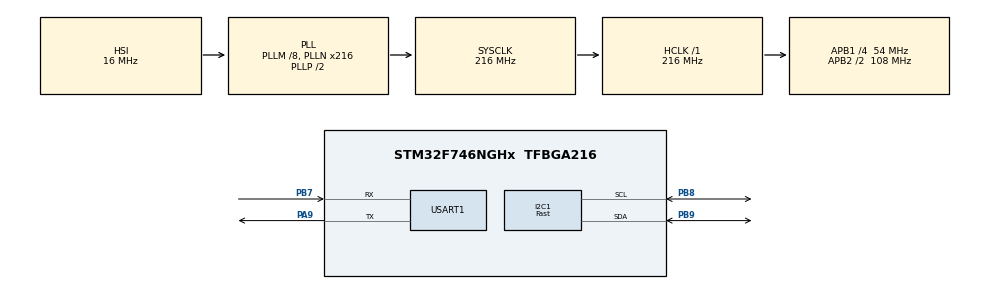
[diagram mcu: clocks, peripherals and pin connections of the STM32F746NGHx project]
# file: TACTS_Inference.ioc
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CORTEX_M7.CPU_DCache=Enabled
CORTEX_M7.CPU_ICache=Enabled
I2C1.I2C_Speed_Mode=I2C_Fast
I2C1.Timing=0x6000030D
Mcu.Family=STM32F7
Mcu.Name=STM32F746NGHx
Mcu.Package=TFBGA216
NVIC.I2C1_ER_IRQn=true\:0\:0\:false\:false\:true\:true\:true\:true
NVIC.I2C1_EV_IRQn=true\:0\:0\:false\:false\:true\:true\:true\:true
NVIC.PriorityGroup=NVIC_PRIORITYGROUP_4
NVIC.USART1_IRQn=true\:0\:0\:false\:true\:true\:1\:true\:true\:true
PA9.Mode=Asynchronous
PA9.Signal=USART1_TX
PB7.Mode=Asynchronous
PB7.Signal=USART1_RX
PB8.Mode=I2C
PB8.Signal=I2C1_SCL
PB9.Mode=I2C
PB9.Signal=I2C1_SDA
PH0/OSC_IN.Mode=HSE-External-Clock-Source
PH0/OSC_IN.Signal=RCC_OSC_IN
PH1/OSC_OUT.Mode=HSE-External-Clock-Source
PH1/OSC_OUT.Signal=RCC_OSC_OUT
ProjectManager.HeapSize=0x800
ProjectManager.StackSize=0x800
ProjectManager.TargetToolchain=STM32CubeIDE
RCC.AHBFreq_Value=216000000
RCC.APB1CLKDivider=RCC_HCLK_DIV4
RCC.APB1Freq_Value=54000000
RCC.APB1TimFreq_Value=108000000
RCC.APB2CLKDivider=RCC_HCLK_DIV2
RCC.APB2Freq_Value=108000000
RCC.APB2TimFreq_Value=216000000
RCC.CortexFreq_Value=216000000
RCC.HCLKFreq_Value=216000000
RCC.HSE_VALUE=8000000
RCC.HSI_VALUE=16000000
RCC.LSE_VALUE=32768
RCC.PLLM=8
RCC.PLLN=216
RCC.SYSCLKFreq_VALUE=216000000
RCC.SYSCLKSource=RCC_SYSCLKSOURCE_PLLCLK
RCC.USBFreq_Value=216000000
RCC.VCOOutputFreq_Value=432000000
STMicroelectronics.X-CUBE-AI.8.1.0.ActivationBufferSizeList=5364
STMicroelectronics.X-CUBE-AI.8.1.0.ActivationBuffers=pool0
STMicroelectronics.X-CUBE-AI.8.1.0.ActivationNames=pool0
STMicroelectronics.X-CUBE-AI.8.1.0.ActivationSizes=AI_TWOLINE_DATA_ACTIVATION_1_SIZE
STMicroelectronics.X-CUBE-AI.8.1.0.HeapSize=0x800
STMicroelectronics.X-CUBE-AI.8.1.0.InternalRamActivationBufferMaxSize=AI_TWOLINE_DATA_ACTIVATIONS_SIZE
STMicroelectronics.X-CUBE-AI.8.1.0.LatestDirectoryUsed-50fa3172ae96bfd2e2aa69de73ecd10d87072e4c03c1f7a5d39be7b2cf34bff8=D\:\\ME program\\2017-PhD\\01_research\\02Study\\34_ballon_like_cover\\DeepLearing\\TACTS\\MicroController\\STM32F746\\TACTS_Inference
STMicroelectronics.X-CUBE-AI.8.1.0.LatestDirectoryUsed-f89b8ea0d9e47234cacd05283bb86b26d64db5a213332dde15ffde1aab2d217b=D\:\\ME program\\2017-PhD\\01_research\\02Study\\34_ballon_like_cover\\DeepLearing\\TACTS\\MicroController\\STM32F746\\TACTS_Inference
STMicroelectronics.X-CUBE-AI.8.1.0.MaximumNumberOfInputLayer=1
STMicroelectronics.X-CUBE-AI.8.1.0.MaximumNumberOfOutputLayer=1
STMicroelectronics.X-CUBE-AI.8.1.0.MaximumSizeOfInputLayer=1
STMicroelectronics.X-CUBE-AI.8.1.0.MaximumSizeOfOutputLayer=1
STMicroelectronics.X-CUBE-AI.8.1.0.ModelActualCompression-50fa3172ae96bfd2e2aa69de73ecd10d87072e4c03c1f7a5d39be7b2cf34bff8=0.0
STMicroelectronics.X-CUBE-AI.8.1.0.ModelActualCompression-f89b8ea0d9e47234cacd05283bb86b26d64db5a213332dde15ffde1aab2d217b=0.0
STMicroelectronics.X-CUBE-AI.8.1.0.ModelCompression-50fa3172ae96bfd2e2aa69de73ecd10d87072e4c03c1f7a5d39be7b2cf34bff8=None
STMicroelectronics.X-CUBE-AI.8.1.0.ModelCompression-f89b8ea0d9e47234cacd05283bb86b26d64db5a213332dde15ffde1aab2d217b=None
STMicroelectronics.X-CUBE-AI.8.1.0.ModelFlashOccupation-50fa3172ae96bfd2e2aa69de73ecd10d87072e4c03c1f7a5d39be7b2cf34bff8=349468
STMicroelectronics.X-CUBE-AI.8.1.0.ModelFlashOccupation-f89b8ea0d9e47234cacd05283bb86b26d64db5a213332dde15ffde1aab2d217b=370496
STMicroelectronics.X-CUBE-AI.8.1.0.ModelHashList=50fa3172ae96bfd2e2aa69de73ecd10d87072e4c03c1f7a5d39be7b2cf34bff8;f89b8ea0d9e47234cacd05283bb86b26d64db5a213332dde15ffde1aab2d217b
STMicroelectronics.X-CUBE-AI.8.1.0.ModelKind-50fa3172ae96bfd2e2aa69de73ecd10d87072e4c03c1f7a5d39be7b2cf34bff8=KERAS
STMicroelectronics.X-CUBE-AI.8.1.0.ModelKind-f89b8ea0d9e47234cacd05283bb86b26d64db5a213332dde15ffde1aab2d217b=KERAS
STMicroelectronics.X-CUBE-AI.8.1.0.ModelMacc-50fa3172ae96bfd2e2aa69de73ecd10d87072e4c03c1f7a5d39be7b2cf34bff8=84484
STMicroelectronics.X-CUBE-AI.8.1.0.ModelMacc-f89b8ea0d9e47234cacd05283bb86b26d64db5a213332dde15ffde1aab2d217b=89716
STMicroelectronics.X-CUBE-AI.8.1.0.ModelName-50fa3172ae96bfd2e2aa69de73ecd10d87072e4c03c1f7a5d39be7b2cf34bff8=twoline
STMicroelectronics.X-CUBE-AI.8.1.0.ModelName-f89b8ea0d9e47234cacd05283bb86b26d64db5a213332dde15ffde1aab2d217b=threeline
STMicroelectronics.X-CUBE-AI.8.1.0.ModelNameList=twoline,threeline
STMicroelectronics.X-CUBE-AI.8.1.0.ModelRamOccupation-50fa3172ae96bfd2e2aa69de73ecd10d87072e4c03c1f7a5d39be7b2cf34bff8=5364
STMicroelectronics.X-CUBE-AI.8.1.0.ModelRamOccupation-f89b8ea0d9e47234cacd05283bb86b26d64db5a213332dde15ffde1aab2d217b=5364
STMicroelectronics.X-CUBE-AI.8.1.0.ModelStructureFile-50fa3172ae96bfd2e2aa69de73ecd10d87072e4c03c1f7a5d39be7b2cf34bff8=231114_0033_4kPa_5V_2line_Data_B9.h5
STMicroelectronics.X-CUBE-AI.8.1.0.ModelStructureFile-f89b8ea0d9e47234cacd05283bb86b26d64db5a213332dde15ffde1aab2d217b=231116_1108_4kPa_6.5V_3line_Data_B12.h5
STMicroelectronics.X-CUBE-AI.8.1.0.ModelType-50fa3172ae96bfd2e2aa69de73ecd10d87072e4c03c1f7a5d39be7b2cf34bff8=Saved model
STMicroelectronics.X-CUBE-AI.8.1.0.ModelType-f89b8ea0d9e47234cacd05283bb86b26d64db5a213332dde15ffde1aab2d217b=Saved model
STMicroelectronics.X-CUBE-AI.8.1.0.ReadyForCodeGeneration=true
STMicroelectronics.X-CUBE-AI.8.1.0.StackSize=0x800
STMicroelectronics.X-CUBE-AI.8.1.0.WorkingBufferStartAddrList=0xFFFFFFFF,0xFFFFFFFF
STMicroelectronics.X-CUBE-AI.8.1.0.XAaCUBEAaAICcArtificialOoIntelligenceJjCore=true
STMicroelectronics.X-CUBE-AI.8.1.0.copyWeightToRam=false
STMicroelectronics.X-CUBE-AI.8.1.0.copyWeightToRam-50fa3172ae96bfd2e2aa69de73ecd10d87072e4c03c1f7a5d39be7b2cf34bff8=false
STMicroelectronics.X-CUBE-AI.8.1.0.customLayerConfigEnabled=false
STMicroelectronics.X-CUBE-AI.8.1.0.customLayerConfigEnabled-50fa3172ae96bfd2e2aa69de73ecd10d87072e4c03c1f7a5d39be7b2cf34bff8=false
STMicroelectronics.X-CUBE-AI.8.1.0.noOnnxIoTranspose=false
STMicroelectronics.X-CUBE-AI.8.1.0.noOnnxIoTranspose-50fa3172ae96bfd2e2aa69de73ecd10d87072e4c03c1f7a5d39be7b2cf34bff8=false
STMicroelectronics.X-CUBE-AI.8.1.0.useInputAllocation=true
STMicroelectronics.X-CUBE-AI.8.1.0.useInputAllocation-50fa3172ae96bfd2e2aa69de73ecd10d87072e4c03c1f7a5d39be7b2cf34bff8=true
STMicroelectronics.X-CUBE-AI.8.1.0.useOutputAllocation=true
STMicroelectronics.X-CUBE-AI.8.1.0.useOutputAllocation-50fa3172ae96bfd2e2aa69de73ecd10d87072e4c03c1f7a5d39be7b2cf34bff8=true
USART1.VirtualMode-Asynchronous=VM_ASYNC
VP_CRC_VS_CRC.Mode=CRC_Activate
VP_STMicroelectronics.X-CUBE-AI_VS_ArtificialOoIntelligenceJjXAaCUBEAaAI_8.1.0_8.1.0.Mode=ArtificialOoIntelligenceJjXAaCUBEAaAI
board=custom

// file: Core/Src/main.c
/* USER CODE BEGIN Header */
/**
  ******************************************************************************
  * @file           : main.c
  * @brief          : Main program body
  ******************************************************************************
  * @attention
  *
  * Copyright (c) 2023 STMicroelectronics.
  * All rights reserved.
  *
  * This software is licensed under terms that can be found in the LICENSE file
  * in the root directory of this software component.
  * If no LICENSE file comes with this software, it is provided AS-IS.
  *
  ******************************************************************************
  */
/* USER CODE END Header */
#include "main.h"

/* USER CODE BEGIN Includes */
#include "string.h"
#include "stdio.h"
#include "vl53l0x_jh.h"
#include "kalman.h"
#include "i2c.h"
#include "usart.h"
#include "twoLine.h"
#include "twoLine_data.h"
#include "ai.h"
#include "avgstd.h"
/* USER CODE END Includes */

CRC_HandleTypeDef hcrc;

void SystemClock_Config(void);
static void MX_GPIO_Init(void);
static void MX_CRC_Init(void);
static void MX_NVIC_Init(void);
/* USER CODE BEGIN PFP */
void ProcessCommand(uint8_t *command);
void SensorCommand();
void InitializaionCalibrationCommand();
void CalibrationCommand();
void SetSensorCommand();
void AvgStdCommand();
void InferenceCommand();

/* USER CODE END PFP */

/* USER CODE BEGIN 0 */

void ProcessCommand(uint8_t *command)
{
    if (strcmp((char*)command, "echo") == 0) {HAL_UART_Transmit(&huart1, txMsg, sprintf((char*)txMsg, "echo\n"), 100);}
    else if (strcmp((char*)command, "sensor") == 0) {SensorCommand();}
    else if (strcmp((char*)command, "setsensor") == 0) {SetSensorCommand();}
    else if (strcmp((char*)command, "cali") == 0) {CalibrationCommand();}
    else if (strcmp((char*)command, "avg") == 0) {AvgStdCommand();}
    else if (strcmp((char*)command, "infer") == 0) {InferenceCommand();}
    else {HAL_UART_Transmit(&huart1, txMsg, sprintf((char*)txMsg, "Please insert correct command\n"), 100);}
}

void SensorCommand()
{

	ResetAllDevices();
    HAL_UART_Transmit(&huart1, (uint8_t*)txMsg, sprintf((char*)txMsg, "sensor test\r\n"), 100);
    uint32_t startTime, endTime, diffTime;
    for(int count =0; count < NUM_READINGS; count++){
    	uint8_t sensorCount = 0;
    	startTime = HAL_GetTick();
		for (int i = 0; i < NUM_SENSOR; i++) {
			uint8_t q = i / 12;
			uint8_t r = i % 12;
			uint8_t active_device = q * 2 + (r >= 8 ? 1 : 0);
			uint8_t channel = (r >= 8) ? r - 8 : r;
			ResetDevicesExcept(active_device);
			setActiveTcaChannel(active_device, channel);
			Dev = &vl53l0x_s[i];
			VL53L0X_PerformContinuousRangingMeasurement(Dev, &RangingData); // 1500us
			if (RangingData.RangeStatus == 0) {
			  if (RangingData.RangeMilliMeter < 80) {
				  float filteredValue = Kalman_Estimate(&filters[i], RangingData.RangeMilliMeter);
				  HAL_UART_Transmit(&huart1, (uint8_t*)txMsg, sprintf((char*)txMsg, "%.1f ", filteredValue), 500);
				  sensorValues[i][readingCount[i]] = filteredValue;
				  readingCount[i]++;
				  sensorCount++;
			  }
			}else{
				  HAL_UART_Transmit(&huart1, (uint8_t*)txMsg, sprintf((char*)txMsg, "%d ", RangingData.RangeStatus), 500);
				  // 1 : Sigma Fail | 2 : Signal Fail | 3 : Min Range Fail | 4 : Phase Fail | 5 : Hardware Fail | 255 : No update
			  }
		}
		endTime = HAL_GetTick();
		diffTime = endTime - startTime;
		HAL_UART_Transmit(&huart1, (uint8_t*)txMsg, sprintf((char*)txMsg, "%lu ms ", diffTime), 100);
		HAL_UART_Transmit(&huart1, (uint8_t*)txMsg, sprintf((char*)txMsg, "\n"), 100);

    }
    TransmitStats();
    ResetSensorData();
}

void SetSensorCommand(){
	HAL_UART_Transmit(&huart1, (uint8_t*)txMsg, sprintf((char*)txMsg, "SetCommand\n\r"), 100);

	ResetAllDevices();
  	for (int i = 0; i < NUM_SENSOR; i++) {
  	    uint8_t q = i / 12;
  	    uint8_t r = i % 12;
  	    uint8_t active_device = q * 2 + (r >= 8 ? 1 : 0);
  	    uint8_t channel = (r >= 8) ? r - 8 : r;

        ResetDevicesExcept(active_device);
        setActiveTcaChannel(active_device,channel);

  		Dev = &vl53l0x_s[i];
  		Dev->I2cHandle = &hi2c1;
  		Dev->I2cDevAddr = VL53L0X_ADDR;

  		VL53L0X_WaitDeviceBooted( Dev );
  		VL53L0X_DataInit( Dev );
  		VL53L0X_StaticInit( Dev );
  		VL53L0X_SetDeviceMode(Dev, VL53L0X_DEVICEMODE_CONTINUOUS_RANGING);

		VL53L0X_SetReferenceSpads(Dev, refSpadCountHost[i], isApertureSpadsHost[i]);
  		VL53L0X_SetRefCalibration(Dev, VhvSettingsHost[i], PhaseCalHost[i]);

  		VL53L0X_SetLimitCheckEnable(Dev, VL53L0X_CHECKENABLE_SIGMA_FINAL_RANGE, 1);
  		VL53L0X_SetLimitCheckEnable(Dev, VL53L0X_CHECKENABLE_SIGNAL_RATE_FINAL_RANGE, 1);
  		VL53L0X_SetLimitCheckValue(Dev, VL53L0X_CHECKENABLE_SIGNAL_RATE_FINAL_RANGE, (FixPoint1616_t)(0.1*65536));
  		VL53L0X_SetLimitCheckValue(Dev, VL53L0X_CHECKENABLE_SIGMA_FINAL_RANGE, (FixPoint1616_t)(60*65536));
  		VL53L0X_SetMeasurementTimingBudgetMicroSeconds(Dev, 33000);
  		VL53L0X_SetVcselPulsePeriod(Dev, VL53L0X_VCSEL_PERIOD_PRE_RANGE, 18);
  		VL53L0X_SetVcselPulsePeriod(Dev, VL53L0X_VCSEL_PERIOD_FINAL_RANGE, 14);

		Kalman_Init(&filters[i], Q, R, P, 0);  // Q, R, P, 초기�?????

 		HAL_UART_Transmit(&huart1, (uint8_t*)txMsg, sprintf((char*)txMsg, "%02d:(",i), 100);
 		HAL_UART_Transmit(&huart1, (uint8_t*)txMsg, sprintf((char*)txMsg, "%02lu ",refSpadCountHost[i]), 100);
 		HAL_UART_Transmit(&huart1, (uint8_t*)txMsg, sprintf((char*)txMsg, "%02d ",isApertureSpadsHost[i]), 100);
 		HAL_UART_Transmit(&huart1, (uint8_t*)txMsg, sprintf((char*)txMsg, "%02d ",VhvSettingsHost[i]), 100);
 		HAL_UART_Transmit(&huart1, (uint8_t*)txMsg, sprintf((char*)txMsg, "%02d) ",PhaseCalHost[i]), 100);
 		if(i%12 ==11){HAL_UART_Transmit(&huart1, (uint8_t*)txMsg, sprintf((char*)txMsg, "\n\r"), 100);}

  	}
}

void AvgStdCommand(){
	HAL_UART_Transmit(&huart1, (uint8_t*)txMsg, sprintf((char*)txMsg, "Avg Std Force Z\n" ), 1000);
    for(int i = 0; i < sizeof(Xmean)/sizeof(Xmean[0]); i++) {
        HAL_UART_Transmit(&huart1, (uint8_t*)txMsg, sprintf((char*)txMsg, "%.2f ", Xmean[i]), 1000);
        if(i%8==7){HAL_UART_Transmit(&huart1, (uint8_t*)txMsg, sprintf((char*)txMsg, "\n"), 1000);}
    }
    for(int i = 0; i < sizeof(Xstd)/sizeof(Xstd[0]); i++) {
        HAL_UART_Transmit(&huart1, (uint8_t*)txMsg, sprintf((char*)txMsg, "%.2f ", Xstd[i]), 1000);
        if(i%8==7){HAL_UART_Transmit(&huart1, (uint8_t*)txMsg, sprintf((char*)txMsg, "\n"), 1000);}
    }
    HAL_UART_Transmit(&huart1, (uint8_t*)txMsg, sprintf((char*)txMsg, "%.2f ", Fminmax[0]), 1000);
    HAL_UART_Transmit(&huart1, (uint8_t*)txMsg, sprintf((char*)txMsg, "%.2f ", Fminmax[1]), 1000);
	HAL_UART_Transmit(&huart1, (uint8_t*)txMsg, sprintf((char*)txMsg, "\n"), 1000);
    HAL_UART_Transmit(&huart1, (uint8_t*)txMsg, sprintf((char*)txMsg, "%.2f ", Zminmax[0]), 1000);
    HAL_UART_Transmit(&huart1, (uint8_t*)txMsg, sprintf((char*)txMsg, "%.2f ", Zminmax[1]), 1000);
	HAL_UART_Transmit(&huart1, (uint8_t*)txMsg, sprintf((char*)txMsg, "\n"), 1000);
}

void CalibrationCommand(){

}

void InferenceCommand()
{
	ResetAllDevices();
    HAL_UART_Transmit(&huart1, (uint8_t*)txMsg, sprintf((char*)txMsg, "sensor test\r\n"), 100);
    for (int count =0; count <50000;count ++){
    	uint8_t tofCount =0;
        for (int i = 0; i < NUM_SENSOR; i++) {
    	    uint8_t q = i / 12;
    	    uint8_t r = i % 12;
    	    uint8_t active_device = q * 2 + (r >= 8 ? 1 : 0);
    	    uint8_t channel = (r >= 8) ? r - 8 : r;
    	    ResetDevicesExcept(active_device);
            setActiveTcaChannel(active_device, channel);
            Dev = &vl53l0x_s[i];
            VL53L0X_PerformContinuousRangingMeasurement(Dev, &RangingData); // 1500 uss
            if (RangingData.RangeStatus == 0) {
                float filteredValue = Kalman_Estimate(&filters[i], RangingData.RangeMilliMeter); // 500 us
                in_data[i]=filteredValue;
                //HAL_UART_Transmit(&huart1, (uint8_t*)txMsg, sprintf((char*)txMsg, "%.2f ", in_data[i]), 1000);
                in_data[i]= (filteredValue-Xmean[i])/Xstd[i];
                tofCount++;
            }else{
               HAL_UART_Transmit(&huart1, (uint8_t*)txMsg, sprintf((char*)txMsg, "99 "), 1000);
            }
        }
		if(tofCount == NUM_SENSOR){
			aiRun(in_data,out_data);
			float sqSum= out_data[2]*out_data[2] + out_data[3]*out_data[3];
			if(sqSum >= 0.8 && sqSum <= 1.2){
				out_data[0] = (out_data[0] + 1) * (Fminmax[1] - Fminmax[0]) / 2 + Fminmax[0];
				out_data[1] = (out_data[1] + 1) * (Zminmax[1] - Zminmax[0]) / 2 + Zminmax[0];
				if(out_data[0]>20){
					for(int k=0; k<4;k++){
						HAL_UART_Transmit(&huart1, (uint8_t*)txMsg, sprintf((char*)txMsg, "%.2f ", out_data[k]), 1000);
					}
				}
			}
			HAL_UART_Transmit(&huart1, (uint8_t*)txMsg, sprintf((char*)txMsg, "%.2f ", sqSum), 1000);
		}
		HAL_UART_Transmit(&huart1, (uint8_t*)txMsg, sprintf((char*)txMsg, "\n"), 100);
    }

}

/* USER CODE END 0 */

int main(void)
{

  /* Enable I-Cache---------------------------------------------------------*/
  SCB_EnableICache();

  /* Enable D-Cache---------------------------------------------------------*/
  SCB_EnableDCache();

  /* MCU Configuration--------------------------------------------------------*/

  /* Reset of all peripherals, Initializes the Flash interface and the Systick. */
  HAL_Init();

  /* Configure the system clock */
  SystemClock_Config();

  /* Initialize all configured peripherals */
  MX_GPIO_Init();
  MX_USART1_UART_Init();
  MX_I2C1_Init();
  MX_CRC_Init();

  /* Initialize interrupts */
  MX_NVIC_Init();
  /* USER CODE BEGIN 2 */

  aiInit();
  startMsg();

  /* USER CODE END 2 */

  /* Infinite loop */
  /* USER CODE BEGIN WHILE */
  while (1)
  {
	  if(ReceiveUartMessage(&huart1, rxMsg, sizeof(rxMsg)) == HAL_OK)
	  {
	      ProcessCommand(rxMsg);
	  }
    /* USER CODE END WHILE */

  }
}

void SystemClock_Config(void)
{
  RCC_OscInitTypeDef RCC_OscInitStruct = {0};
  RCC_ClkInitTypeDef RCC_ClkInitStruct = {0};

  /** Configure the main internal regulator output voltage
  */
  __HAL_RCC_PWR_CLK_ENABLE();
  __HAL_PWR_VOLTAGESCALING_CONFIG(PWR_REGULATOR_VOLTAGE_SCALE1);

  /** Initializes the RCC Oscillators according to the specified parameters
  * in the RCC_OscInitTypeDef structure.
  */
  RCC_OscInitStruct.OscillatorType = RCC_OSCILLATORTYPE_HSI;
  RCC_OscInitStruct.HSIState = RCC_HSI_ON;
  RCC_OscInitStruct.HSICalibrationValue = RCC_HSICALIBRATION_DEFAULT;
  RCC_OscInitStruct.PLL.PLLState = RCC_PLL_ON;
  RCC_OscInitStruct.PLL.PLLSource = RCC_PLLSOURCE_HSI;
  RCC_OscInitStruct.PLL.PLLM = 8;
  RCC_OscInitStruct.PLL.PLLN = 216;
  RCC_OscInitStruct.PLL.PLLP = RCC_PLLP_DIV2;
  RCC_OscInitStruct.PLL.PLLQ = 2;
  if (HAL_RCC_OscConfig(&RCC_OscInitStruct) != HAL_OK)
  {
    Error_Handler();
  }

  /** Activate the Over-Drive mode
  */
  if (HAL_PWREx_EnableOverDrive() != HAL_OK)
  {
    Error_Handler();
  }

  /** Initializes the CPU, AHB and APB buses clocks
  */
  RCC_ClkInitStruct.ClockType = RCC_CLOCKTYPE_HCLK|RCC_CLOCKTYPE_SYSCLK
                              |RCC_CLOCKTYPE_PCLK1|RCC_CLOCKTYPE_PCLK2;
  RCC_ClkInitStruct.SYSCLKSource = RCC_SYSCLKSOURCE_PLLCLK;
  RCC_ClkInitStruct.AHBCLKDivider = RCC_SYSCLK_DIV1;
  RCC_ClkInitStruct.APB1CLKDivider = RCC_HCLK_DIV4;
  RCC_ClkInitStruct.APB2CLKDivider = RCC_HCLK_DIV2;

  if (HAL_RCC_ClockConfig(&RCC_ClkInitStruct, FLASH_LATENCY_7) != HAL_OK)
  {
    Error_Handler();
  }
}

/**
  * @brief NVIC Configuration.
  * @retval None
  */
static void MX_NVIC_Init(void)
{
  /* USART1_IRQn interrupt configuration */
  HAL_NVIC_SetPriority(USART1_IRQn, 0, 0);
  HAL_NVIC_EnableIRQ(USART1_IRQn);
}

static void MX_CRC_Init(void)
{

  hcrc.Instance = CRC;
  hcrc.Init.DefaultPolynomialUse = DEFAULT_POLYNOMIAL_ENABLE;
  hcrc.Init.DefaultInitValueUse = DEFAULT_INIT_VALUE_ENABLE;
  hcrc.Init.InputDataInversionMode = CRC_INPUTDATA_INVERSION_NONE;
  hcrc.Init.OutputDataInversionMode = CRC_OUTPUTDATA_INVERSION_DISABLE;
  hcrc.InputDataFormat = CRC_INPUTDATA_FORMAT_BYTES;
  if (HAL_CRC_Init(&hcrc) != HAL_OK)
  {
    Error_Handler();
  }

}

static void MX_GPIO_Init(void)
{

  /* GPIO Ports Clock Enable */
  __HAL_RCC_GPIOB_CLK_ENABLE();
  __HAL_RCC_GPIOA_CLK_ENABLE();
  __HAL_RCC_GPIOH_CLK_ENABLE();

}

void Error_Handler(void)
{
  /* USER CODE BEGIN Error_Handler_Debug */
  /* User can add his own implementation to report the HAL error return state */
  __disable_irq();
  while (1)
  {
	  HAL_UART_Transmit(&huart1, (uint8_t*)txMsg, sprintf((char*)txMsg, "Error\n\r"), 100);
  }
  /* USER CODE END Error_Handler_Debug */
}
